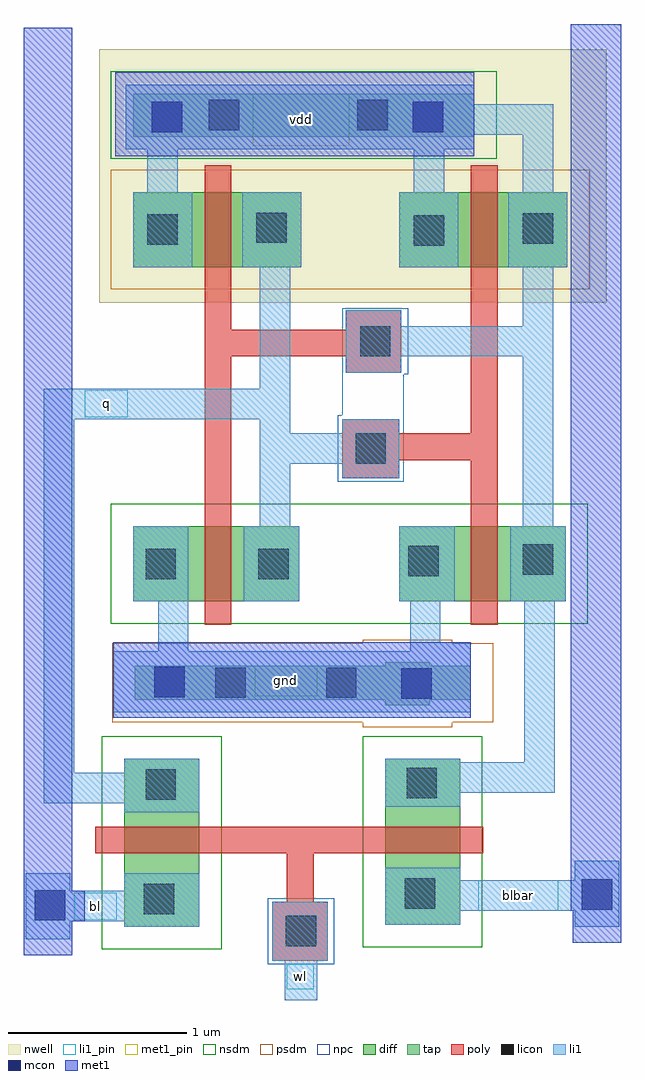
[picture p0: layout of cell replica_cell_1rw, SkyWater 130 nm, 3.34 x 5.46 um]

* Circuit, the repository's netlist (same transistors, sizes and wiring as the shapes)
*********************** "cell_1rw" ******************************
.SUBCKT replica_cell_1rw bl br wl vdd gnd
* SPICE3 file created from cell_1rw.ext - technology: sky130A

X0 vdd wl br gnd sky130_fd_pr__nfet_01v8 w=0.42u l=0.15u
X1 vdd q vdd vdd sky130_fd_pr__pfet_01v8 w=0.42u l=0.15u
X2 q vdd vdd vdd sky130_fd_pr__pfet_01v8 w=0.42u l=0.15u
X3 q vdd gnd gnd sky130_fd_pr__nfet_01v8 w=0.42u l=0.15u
X4 vdd q gnd gnd sky130_fd_pr__nfet_01v8 w=0.42u l=0.15u
X5 q wl bl gnd sky130_fd_pr__nfet_01v8 w=0.42u l=0.15u

.ENDS

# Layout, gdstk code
import gdstk
lib = gdstk.Library(unit=1e-6, precision=1e-09)
def R(c, l, rs):  # rectangles x0, y0, x1, y1
    for r in rs: c.add(gdstk.rectangle(r[:2], r[2:], *l))
nwell = (64, 20)
diff = (65, 20)
tap = (65, 44)
poly = (66, 20)
licon = (66, 44)
li1_pin = (67, 16)
li1 = (67, 20)
mcon = (67, 44)
met1_pin = (68, 16)
met1 = (68, 20)
nsdm = (93, 44)
psdm = (94, 20)
npc = (95, 20)

replica_cell_1rw = lib.new_cell('replica_cell_1rw')
R(replica_cell_1rw, nwell, [(-0.41,-0.23,2.43,1.19)])
R(replica_cell_1rw, diff, [(-0.27,-3.72,0.15,-2.78), (1.19,-3.71,1.61,-2.78), (-0.22,-1.9,0.71,-1.48), (1.27,-1.9,2.2,-1.48), (-0.22,-0.03,0.72,0.39), (1.27,-0.03,2.21,0.39)])
R(replica_cell_1rw, tap, [(1.19,-2.48,1.44,-2.45), (-0.21,-2.45,1.67,-2.26), (1.19,-2.26,1.44,-2.24), (-0.22,0.7,1.69,0.94)])
R(replica_cell_1rw, poly, [(0.56,-3.91,0.87,-3.58), (0.64,-3.58,0.79,-3.31), (-0.43,-3.31,1.74,-3.16), (0.18,-2.03,0.33,-0.53), (1.67,-2.03,1.82,-1.11), (0.95,-1.21,1.27,-1.11), (0.95,-1.11,1.82,-0.96), (0.95,-0.96,1.27,-0.88), (1.67,-0.96,1.82,0.54), (0.97,-0.62,1.28,-0.53), (0.18,-0.53,1.28,-0.38), (0.18,-0.38,0.33,0.54), (0.97,-0.38,1.28,-0.27)])
R(replica_cell_1rw, licon, [(0.635,-3.83,0.805,-3.66), (-0.16,-3.65,0.01,-3.48), (1.3,-3.62,1.47,-3.45), (-0.15,-3.01,0.02,-2.84), (1.31,-3,1.48,-2.83), (0.24,-2.44,0.41,-2.27), (0.86,-2.44,1.03,-2.27), (-0.15,-1.775,0.02,-1.605), (0.48,-1.775,0.65,-1.605), (1.32,-1.76,1.49,-1.59), (1.96,-1.75,2.13,-1.58), (1.025,-1.13,1.195,-0.96), (1.05,-0.53,1.22,-0.36), (1.35,0.09,1.52,0.26), (-0.14,0.095,0.03,0.265), (1.96,0.1,2.13,0.27), (0.47,0.105,0.64,0.275), (0.205,0.735,0.375,0.905), (1.035,0.735,1.205,0.905)])
R(replica_cell_1rw, li1_pin, [(0.64,-4.07,0.79,-3.93), (-0.55,-3.68,-0.31,-3.53), (1.71,-3.63,2.16,-3.46), (-0.49,-0.87,-0.25,-0.72)])
R(replica_cell_1rw, li1, [(0.63,-4.13,0.81,-3.91), (0.56,-3.91,0.87,-3.58), (-0.82,-3.79,-0.57,-3.69), (-0.27,-3.72,0.15,-3.69), (2.25,-3.72,2.5,-3.63), (1.19,-3.71,1.61,-3.63), (-0.82,-3.69,0.15,-3.52), (1.19,-3.63,2.5,-3.46), (-0.82,-3.52,-0.57,-3.42), (-0.27,-3.52,0.15,-3.42), (1.19,-3.46,1.61,-3.39), (2.25,-3.46,2.5,-3.35), (-0.27,-3.08,0.15,-3.03), (1.19,-3.05,1.61,-2.97), (-0.72,-3.03,0.15,-2.86), (1.19,-2.97,2.14,-2.8), (-0.72,-2.86,-0.55,-0.88), (-0.27,-2.86,0.15,-2.78), (1.19,-2.8,1.61,-2.78), (1.97,-2.8,2.14,-1.9), (-0.33,-2.52,1.67,-2.18), (-0.08,-2.18,0.09,-1.9), (1.33,-2.18,1.67,-2.13), (1.33,-2.13,1.5,-1.9), (-0.22,-1.9,0.09,-1.48), (0.4,-1.9,0.71,-1.48), (1.27,-1.9,1.58,-1.48), (1.89,-1.9,2.2,-1.48), (0.49,-1.48,0.66,-1.13), (1.96,-1.48,2.13,-0.53), (0.95,-1.21,1.27,-1.13), (0.49,-1.13,1.27,-0.96), (0.49,-0.96,0.66,-0.88), (0.95,-0.96,1.27,-0.88), (-0.72,-0.88,0.66,-0.71), (0.49,-0.71,0.66,-0.03), (0.97,-0.62,1.28,-0.53), (0.97,-0.53,2.13,-0.36), (0.97,-0.36,1.28,-0.27), (1.96,-0.36,2.13,-0.03), (-0.22,-0.03,0.11,0.39), (0.39,-0.03,0.72,0.39), (1.27,-0.03,1.6,0.39), (1.88,-0.03,2.21,0.39), (-0.14,0.39,0.03,0.63), (1.35,0.39,1.52,0.63), (1.96,0.39,2.13,0.71), (-0.26,0.63,1.69,0.71), (-0.26,0.71,2.13,0.88), (-0.26,0.88,1.69,0.99)])
R(replica_cell_1rw, mcon, [(-0.77,-3.685,-0.6,-3.515), (2.29,-3.625,2.46,-3.455), (1.28,-2.445,1.45,-2.275), (-0.1,-2.435,0.07,-2.265), (-0.115,0.725,0.055,0.895), (1.345,0.725,1.515,0.895)])
R(replica_cell_1rw, met1_pin, [(0.46,-2.43,0.81,-2.26), (0.45,0.65,0.99,0.94)])
R(replica_cell_1rw, met1, [(-0.83,-3.88,-0.56,-3.69), (2.24,-3.81,2.51,-3.63), (-0.83,-3.69,-0.49,-3.52), (2.23,-3.63,2.51,1.33), (-0.83,-3.52,-0.56,1.31), (-0.33,-2.55,1.67,-2.13), (-0.32,0.59,1.69,1.06)])
R(replica_cell_1rw, nsdm, [(-0.395,-3.845,0.275,-2.655), (1.065,-3.835,1.735,-2.655), (-0.345,-2.025,2.325,-1.355), (-0.345,0.575,1.815,1.065)])
R(replica_cell_1rw, psdm, [(1.065,-2.605,1.565,-2.575), (-0.335,-2.575,1.795,-2.135), (1.065,-2.135,1.565,-2.115), (-0.345,-0.155,2.335,0.515)])
R(replica_cell_1rw, npc, [(0.535,-3.93,0.905,-3.56), (0.925,-1.23,1.295,-0.86), (0.95,-0.86,1.295,-0.63), (0.95,-0.63,1.32,-0.26)])
replica_cell_1rw.add(gdstk.Label('vdd', (0.72,0.795), layer=68, texttype=16))
replica_cell_1rw.add(gdstk.Label('q', (-0.37,-0.795), layer=67, texttype=16))
replica_cell_1rw.add(gdstk.Label('gnd', (0.635,-2.345), layer=68, texttype=16))
replica_cell_1rw.add(gdstk.Label('bl', (-0.43,-3.605), layer=67, texttype=16))
replica_cell_1rw.add(gdstk.Label('blbar', (1.935,-3.545), layer=67, texttype=16))
replica_cell_1rw.add(gdstk.Label('wl', (0.715,-4), layer=67, texttype=16))

lib.write_gds('replica_cell_1rw.gds')
